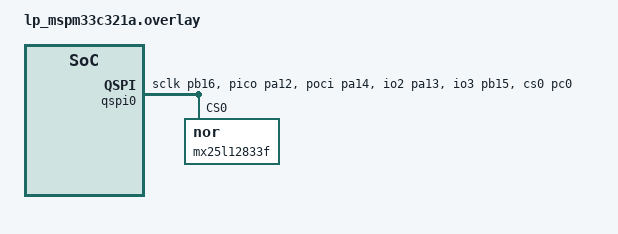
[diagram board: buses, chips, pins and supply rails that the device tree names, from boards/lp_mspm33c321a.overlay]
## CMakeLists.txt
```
# SPDX-License-Identifier: Apache-2.0

cmake_minimum_required(VERSION 3.28.0)
find_package(Zephyr REQUIRED HINTS $ENV{ZEPHYR_BASE})
project(build_all_mspi)

FILE(GLOB app_sources src/*.c)
target_sources(app PRIVATE ${app_sources})
```

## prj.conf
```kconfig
CONFIG_TEST=y
CONFIG_MSPI=y
CONFIG_FLASH=y
CONFIG_FLASH_MSPI_NOR=y
```

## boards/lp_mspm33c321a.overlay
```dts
/*
 * Copyright (c) 2026 Texas Instruments
 *
 * SPDX-License-Identifier: Apache-2.0
 *
 * LP-MSPM33C321A overlay: enables the QSPI controller and the on-board
 * Macronix MX25L12833F (128 Mbit / 16 MB) NOR flash.
 *
 * Pin routing and PINCM/function values are taken from the TI MSPM33 SDK
 * (LP_MSPM33C321A qspi_flash_readback example + mspm33c321x.h pinmux tables):
 *   SCLK=PB16 (PINCM33/PF6), PICO/IO0=PA12 (PINCM34/PF6),
 *   POCI/IO1=PA14 (PINCM36/PF6), IO2=PA13 (PINCM35/PF6),
 *   IO3=PB15 (PINCM32/PF6), CS0=PC0 (PINCM74/PF7).
 *
 * Flash is configured in single-line (1-1-1) mode for first bring-up. To use
 * quad, set mspi-io-mode to "MSPI_IO_MODE_QUAD_1_1_4", read-command <0x6b>,
 * rx-dummy <8> (or 0xeb / 6 dummy for 1-4-4) and ensure the QE bit is set.
 */

#include <zephyr/dt-bindings/pinctrl/mspm0-pinctrl.h>
#include <zephyr/dt-bindings/clock/mspm0_clock.h>

&pinctrl {
	qspi0_sclk_pb16: qspi0_sclk_pb16 {
		pinmux = <MSP_PINMUX(33, MSPM0_PIN_FUNCTION_6)>;
	};
	qspi0_pico_pa12: qspi0_pico_pa12 {
		pinmux = <MSP_PINMUX(34, MSPM0_PIN_FUNCTION_6)>;
	};
	qspi0_poci_pa14: qspi0_poci_pa14 {
		pinmux = <MSP_PINMUX(36, MSPM0_PIN_FUNCTION_6)>;
	};
	qspi0_io2_pa13: qspi0_io2_pa13 {
		pinmux = <MSP_PINMUX(35, MSPM0_PIN_FUNCTION_6)>;
	};
	qspi0_io3_pb15: qspi0_io3_pb15 {
		pinmux = <MSP_PINMUX(32, MSPM0_PIN_FUNCTION_6)>;
	};
	qspi0_cs0_pc0: qspi0_cs0_pc0 {
		pinmux = <MSP_PINMUX(74, MSPM0_PIN_FUNCTION_7)>;
	};
};

&qspi0 {
	status = "okay";
	pinctrl-0 = <&qspi0_sclk_pb16 &qspi0_pico_pa12 &qspi0_poci_pa14
		     &qspi0_io2_pa13 &qspi0_io3_pb15 &qspi0_cs0_pc0>;
	pinctrl-names = "default";

	mx25l12833f: flash@0 {
		compatible = "jedec,nor";
		reg = <0>;
		size = <DT_SIZE_M(128)>;                /* 128 Mbit = 16 MB */
		jedec-id = [c2 20 18];
		page-size = <256>;
		erase-block-size = <4096>;

		mspi-max-frequency = <DT_FREQ_M(24)>;
		mspi-io-mode = "MSPI_IO_MODE_SINGLE";
		mspi-data-rate = "MSPI_DATA_RATE_SINGLE";
		mspi-hardware-ce-num = <0>;
		mspi-cpp-mode = "MSPI_CPP_MODE_0";
		mspi-endian = "MSPI_BIG_ENDIAN";
		mspi-ce-polarity = "MSPI_CE_ACTIVE_LOW";

		read-command = <0x03>;                  /* normal read (0 dummy) */
		write-command = <0x02>;                 /* page program */
		rx-dummy = <0>;
		tx-dummy = <0>;
		command-length = "INSTR_1_BYTE";
		address-length = "ADDR_3_BYTE";
	};
};
```

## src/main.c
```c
/*
 * Copyright (c) 2026 Texas Instruments
 *
 * SPDX-License-Identifier: Apache-2.0
 */

int main(void)
{
	return 0;
}
```
